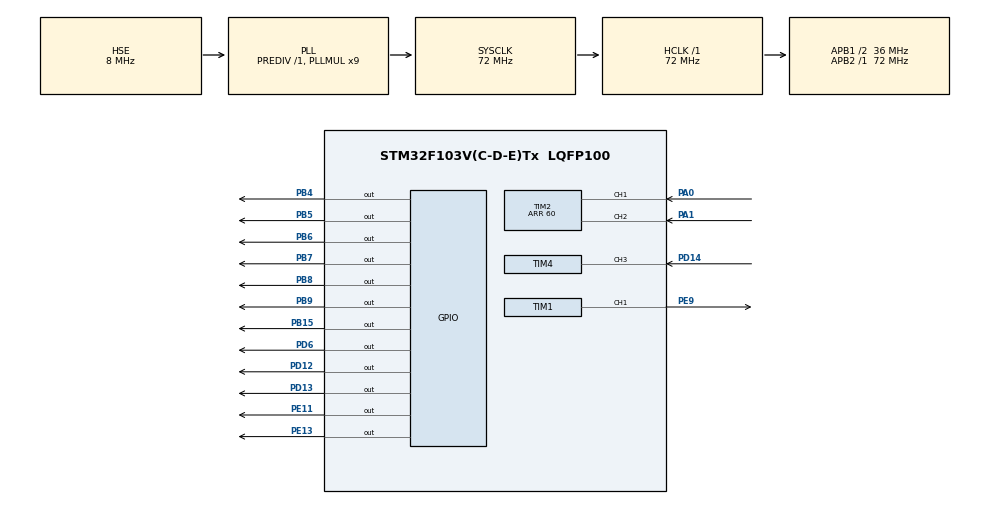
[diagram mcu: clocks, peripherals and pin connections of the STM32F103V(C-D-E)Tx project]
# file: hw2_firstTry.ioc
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Mcu.Family=STM32F1
Mcu.Name=STM32F103V(C-D-E)Tx
Mcu.Package=LQFP100
NVIC.PriorityGroup=NVIC_PRIORITYGROUP_4
NVIC.TIM1_UP_IRQn=true\:2\:0\:true\:false\:true\:true\:true
NVIC.TIM2_IRQn=true\:3\:0\:true\:false\:true\:true\:true
NVIC.TIM4_IRQn=true\:5\:0\:true\:false\:true\:true\:true
NVIC.TIM7_IRQn=true\:4\:0\:true\:false\:true\:true\:true
OSC_IN.Mode=HSE-External-Oscillator
OSC_IN.Signal=RCC_OSC_IN
OSC_OUT.Mode=HSE-External-Oscillator
OSC_OUT.Signal=RCC_OSC_OUT
PA0-WKUP.Signal=S_TIM2_CH1_ETR
PA1.Signal=S_TIM2_CH2
PA13.Mode=JTAG_4_pins
PA13.Signal=SYS_JTMS-SWDIO
PA14.Mode=JTAG_4_pins
PA14.Signal=SYS_JTCK-SWCLK
PA15.Mode=JTAG_4_pins
PA15.Signal=SYS_JTDI
PB15.Signal=GPIO_Output
PB3.Mode=JTAG_4_pins
PB3.Signal=SYS_JTDO-TRACESWO
PB4.Signal=GPIO_Output
PB5.Signal=GPIO_Output
PB6.Signal=GPIO_Output
PB7.Signal=GPIO_Output
PB8.Signal=GPIO_Output
PB9.Signal=GPIO_Output
PD12.Signal=GPIO_Output
PD13.Signal=GPIO_Output
PD14.Signal=S_TIM4_CH3
PD6.Signal=GPIO_Output
PE11.Signal=GPIO_Output
PE13.Signal=GPIO_Output
PE9.Signal=S_TIM1_CH1
ProjectManager.HeapSize=0x200
ProjectManager.StackSize=0x400
ProjectManager.TargetToolchain=MDK-ARM V5.27
RCC.AHBFreq_Value=72000000
RCC.APB1CLKDivider=RCC_HCLK_DIV2
RCC.APB1Freq_Value=36000000
RCC.APB1TimFreq_Value=72000000
RCC.APB2Freq_Value=72000000
RCC.APB2TimFreq_Value=72000000
RCC.HCLKFreq_Value=72000000
RCC.PLLMUL=RCC_PLL_MUL9
RCC.PLLSourceVirtual=RCC_PLLSOURCE_HSE
RCC.SYSCLKFreq_VALUE=72000000
RCC.SYSCLKSource=RCC_SYSCLKSOURCE_PLLCLK
RCC.USBFreq_Value=72000000
SH.S_TIM1_CH1.0=TIM1_CH1,PWM Generation1 CH1
SH.S_TIM2_CH1_ETR.0=TIM2_CH1,Encoder_Interface
SH.S_TIM2_CH2.0=TIM2_CH2,Encoder_Interface
SH.S_TIM4_CH3.0=TIM4_CH3,Input_Capture3_from_TI3
TIM1.AutoReloadPreload=TIM_AUTORELOAD_PRELOAD_ENABLE
TIM1.Channel-PWM\ Generation1\ CH1=TIM_CHANNEL_1
TIM1.OC1Preload_PWM=ENABLE
TIM1.Period=1000-1
TIM1.Prescaler=72-1
TIM1.Pulse-PWM\ Generation1\ CH1=500
TIM2.Channel-PWM\ Generation3\ No\ Output=TIM_CHANNEL_3
TIM2.Period=60
TIM2.Pulse-PWM\ Generation3\ No\ Output=30
TIM4.Channel-Input_Capture3_from_TI3=TIM_CHANNEL_3
TIM4.Period=40000-1
TIM4.Prescaler=720-1
TIM7.Period=10000-1
TIM7.Prescaler=3600-1
VP_TIM1_VS_ClockSourceINT.Mode=Internal
VP_TIM2_VS_no_output3.Mode=PWM Generation3 No Output
VP_TIM7_VS_ClockSourceINT.Mode=Enable_Timer
board=custom

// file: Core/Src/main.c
/* USER CODE BEGIN Header */
/**
  ******************************************************************************
  * @file           : main.c
  * @brief          : Main program body
  ******************************************************************************
  * @attention
  *
  * <h2><center>&copy; Copyright (c) 2021 STMicroelectronics.
  * All rights reserved.</center></h2>
  *
  * This software component is licensed by ST under BSD 3-Clause license,
  * the "License"; You may not use this file except in compliance with the
  * License. You may obtain a copy of the License at:
  *                        opensource.org/licenses/BSD-3-Clause
  *
  ******************************************************************************
  */
/* USER CODE END Header */
#include "main.h"

/* USER CODE BEGIN Includes */
#include "character_lcd.h"

/* USER CODE END Includes */

TIM_HandleTypeDef htim1;
TIM_HandleTypeDef htim2;
TIM_HandleTypeDef htim4;
TIM_HandleTypeDef htim7;

/* USER CODE BEGIN PV */
uint8_t cw_flag = 1;
char lcd_buffer[16];
uint16_t pulse_width = 0;
uint8_t i_ = 0;
uint16_t capture1 = 0;
double rpm = 0;
/* USER CODE END PV */

void SystemClock_Config(void);
static void MX_GPIO_Init(void);
static void MX_TIM1_Init(void);
static void MX_TIM2_Init(void);
static void MX_TIM7_Init(void);
static void MX_TIM4_Init(void);

int main(void)
{

  /* MCU Configuration--------------------------------------------------------*/

  /* Reset of all peripherals, Initializes the Flash interface and the Systick. */
  HAL_Init();

  /* Configure the system clock */
  SystemClock_Config();

  /* Initialize all configured peripherals */
  MX_GPIO_Init();
  MX_TIM1_Init();
  MX_TIM2_Init();
  MX_TIM7_Init();
  MX_TIM4_Init();
  /* USER CODE BEGIN 2 */
	LCD_Config.Font = _FONT_5X7;
  LCD_Config.Mode = _4BIT_INTERFACE;
  LCD_Config.NumberOfLine = _2LINE_DISPLAY;
  LCD_Init();
	HAL_Delay(10);
	LCD_Clear();

	__HAL_TIM_CLEAR_IT(&htim2, TIM_IT_UPDATE);
	__HAL_TIM_ENABLE_IT(&htim2, TIM_IT_UPDATE);

	HAL_TIM_PWM_Start(&htim1, TIM_CHANNEL_1);

	HAL_TIM_Encoder_Start(&htim2, TIM_CHANNEL_1);
	HAL_TIM_Encoder_Start(&htim2, TIM_CHANNEL_2);
	HAL_TIM_PWM_Start_IT(&htim2, TIM_CHANNEL_3);
	TIM2->CNT = 30;

	HAL_TIM_IC_Start_IT(&htim4, TIM_CHANNEL_3);

	HAL_TIM_Base_Start_IT(&htim7);
  /* USER CODE END 2 */

  /* Infinite loop */
  while (1)
  {

    /* USER CODE BEGIN 3 */

		if (cw_flag = 1)
		{
			pulse_width = 200 + (TIM2->CNT - 30)*24;
			TIM1->CCR1 = pulse_width ;
		}
		else
		{
			pulse_width = 200 -(TIM2->CNT - 30)*24;
			TIM1->CCR1 = pulse_width ;
		}
  }
}

void  HAL_TIM_PeriodElapsedCallback(TIM_HandleTypeDef *htim)
{
  if( htim->Instance == TIM7)
	{
		LCD_Clear();
		LCD_GotoXY(0, 0);
		if(cw_flag == 1)
		{
			sprintf(lcd_buffer, "Speed: %.1f rpm", rpm);
		}
		if(cw_flag == 0)
		{
			sprintf(lcd_buffer, "Speed: %.1f rpm", -1*rpm);
		}
		LCD_PutString(lcd_buffer);
	}
}

void HAL_TIM_PWM_PulseFinishedCallback(TIM_HandleTypeDef *htim)
{
	if(htim->Instance == TIM2)
	{
		if(TIM2->CNT > 30)
		{
			cw_flag = 1;
			HAL_GPIO_WritePin(GPIOE, GPIO_PIN_11, GPIO_PIN_SET);
			HAL_GPIO_WritePin(GPIOE, GPIO_PIN_13, GPIO_PIN_RESET);
		}
		else
		{
			cw_flag = 0;
			HAL_GPIO_WritePin(GPIOE, GPIO_PIN_13, GPIO_PIN_SET);
			HAL_GPIO_WritePin(GPIOE, GPIO_PIN_11, GPIO_PIN_RESET);
		}

		if(TIM2->CNT > 52)
			TIM2->CNT = 52;
		if(TIM2->CNT < 8)
			TIM2->CNT = 8;

	}
}

void HAL_TIM_IC_CaptureCallback(TIM_HandleTypeDef *htim)
{
  if(htim->Instance == TIM4)
	{
		capture1 = __HAL_TIM_GetCompare(&htim4, TIM_CHANNEL_3);
		TIM4->CNT = 0;
			rpm = 100000.0 / (capture1 * 96.0);
	}
}
  /* USER CODE END 3 */

void SystemClock_Config(void)
{
  RCC_OscInitTypeDef RCC_OscInitStruct = {0};
  RCC_ClkInitTypeDef RCC_ClkInitStruct = {0};

  /** Initializes the RCC Oscillators according to the specified parameters
  * in the RCC_OscInitTypeDef structure.
  */
  RCC_OscInitStruct.OscillatorType = RCC_OSCILLATORTYPE_HSE;
  RCC_OscInitStruct.HSEState = RCC_HSE_ON;
  RCC_OscInitStruct.HSEPredivValue = RCC_HSE_PREDIV_DIV1;
  RCC_OscInitStruct.HSIState = RCC_HSI_ON;
  RCC_OscInitStruct.PLL.PLLState = RCC_PLL_ON;
  RCC_OscInitStruct.PLL.PLLSource = RCC_PLLSOURCE_HSE;
  RCC_OscInitStruct.PLL.PLLMUL = RCC_PLL_MUL9;
  if (HAL_RCC_OscConfig(&RCC_OscInitStruct) != HAL_OK)
  {
    Error_Handler();
  }
  /** Initializes the CPU, AHB and APB buses clocks
  */
  RCC_ClkInitStruct.ClockType = RCC_CLOCKTYPE_HCLK|RCC_CLOCKTYPE_SYSCLK
                              |RCC_CLOCKTYPE_PCLK1|RCC_CLOCKTYPE_PCLK2;
  RCC_ClkInitStruct.SYSCLKSource = RCC_SYSCLKSOURCE_PLLCLK;
  RCC_ClkInitStruct.AHBCLKDivider = RCC_SYSCLK_DIV1;
  RCC_ClkInitStruct.APB1CLKDivider = RCC_HCLK_DIV2;
  RCC_ClkInitStruct.APB2CLKDivider = RCC_HCLK_DIV1;

  if (HAL_RCC_ClockConfig(&RCC_ClkInitStruct, FLASH_LATENCY_2) != HAL_OK)
  {
    Error_Handler();
  }
}

static void MX_TIM1_Init(void)
{

  TIM_ClockConfigTypeDef sClockSourceConfig = {0};
  TIM_MasterConfigTypeDef sMasterConfig = {0};
  TIM_OC_InitTypeDef sConfigOC = {0};
  TIM_BreakDeadTimeConfigTypeDef sBreakDeadTimeConfig = {0};

  htim1.Instance = TIM1;
  htim1.Init.Prescaler = 72-1;
  htim1.Init.CounterMode = TIM_COUNTERMODE_UP;
  htim1.Init.Period = 1000-1;
  htim1.Init.ClockDivision = TIM_CLOCKDIVISION_DIV1;
  htim1.Init.RepetitionCounter = 0;
  htim1.Init.AutoReloadPreload = TIM_AUTORELOAD_PRELOAD_ENABLE;
  if (HAL_TIM_Base_Init(&htim1) != HAL_OK)
  {
    Error_Handler();
  }
  sClockSourceConfig.ClockSource = TIM_CLOCKSOURCE_INTERNAL;
  if (HAL_TIM_ConfigClockSource(&htim1, &sClockSourceConfig) != HAL_OK)
  {
    Error_Handler();
  }
  if (HAL_TIM_PWM_Init(&htim1) != HAL_OK)
  {
    Error_Handler();
  }
  sMasterConfig.MasterOutputTrigger = TIM_TRGO_RESET;
  sMasterConfig.MasterSlaveMode = TIM_MASTERSLAVEMODE_DISABLE;
  if (HAL_TIMEx_MasterConfigSynchronization(&htim1, &sMasterConfig) != HAL_OK)
  {
    Error_Handler();
  }
  sConfigOC.OCMode = TIM_OCMODE_PWM1;
  sConfigOC.Pulse = 500;
  sConfigOC.OCPolarity = TIM_OCPOLARITY_HIGH;
  sConfigOC.OCNPolarity = TIM_OCNPOLARITY_HIGH;
  sConfigOC.OCFastMode = TIM_OCFAST_DISABLE;
  sConfigOC.OCIdleState = TIM_OCIDLESTATE_RESET;
  sConfigOC.OCNIdleState = TIM_OCNIDLESTATE_RESET;
  if (HAL_TIM_PWM_ConfigChannel(&htim1, &sConfigOC, TIM_CHANNEL_1) != HAL_OK)
  {
    Error_Handler();
  }
  sBreakDeadTimeConfig.OffStateRunMode = TIM_OSSR_DISABLE;
  sBreakDeadTimeConfig.OffStateIDLEMode = TIM_OSSI_DISABLE;
  sBreakDeadTimeConfig.LockLevel = TIM_LOCKLEVEL_OFF;
  sBreakDeadTimeConfig.DeadTime = 0;
  sBreakDeadTimeConfig.BreakState = TIM_BREAK_DISABLE;
  sBreakDeadTimeConfig.BreakPolarity = TIM_BREAKPOLARITY_HIGH;
  sBreakDeadTimeConfig.AutomaticOutput = TIM_AUTOMATICOUTPUT_DISABLE;
  if (HAL_TIMEx_ConfigBreakDeadTime(&htim1, &sBreakDeadTimeConfig) != HAL_OK)
  {
    Error_Handler();
  }
  HAL_TIM_MspPostInit(&htim1);

}

static void MX_TIM2_Init(void)
{

  TIM_Encoder_InitTypeDef sConfig = {0};
  TIM_MasterConfigTypeDef sMasterConfig = {0};
  TIM_OC_InitTypeDef sConfigOC = {0};

  htim2.Instance = TIM2;
  htim2.Init.Prescaler = 0;
  htim2.Init.CounterMode = TIM_COUNTERMODE_UP;
  htim2.Init.Period = 60;
  htim2.Init.ClockDivision = TIM_CLOCKDIVISION_DIV1;
  htim2.Init.AutoReloadPreload = TIM_AUTORELOAD_PRELOAD_DISABLE;
  if (HAL_TIM_PWM_Init(&htim2) != HAL_OK)
  {
    Error_Handler();
  }
  sConfig.EncoderMode = TIM_ENCODERMODE_TI1;
  sConfig.IC1Polarity = TIM_ICPOLARITY_RISING;
  sConfig.IC1Selection = TIM_ICSELECTION_DIRECTTI;
  sConfig.IC1Prescaler = TIM_ICPSC_DIV1;
  sConfig.IC1Filter = 0;
  sConfig.IC2Polarity = TIM_ICPOLARITY_RISING;
  sConfig.IC2Selection = TIM_ICSELECTION_DIRECTTI;
  sConfig.IC2Prescaler = TIM_ICPSC_DIV1;
  sConfig.IC2Filter = 0;
  if (HAL_TIM_Encoder_Init(&htim2, &sConfig) != HAL_OK)
  {
    Error_Handler();
  }
  sMasterConfig.MasterOutputTrigger = TIM_TRGO_RESET;
  sMasterConfig.MasterSlaveMode = TIM_MASTERSLAVEMODE_DISABLE;
  if (HAL_TIMEx_MasterConfigSynchronization(&htim2, &sMasterConfig) != HAL_OK)
  {
    Error_Handler();
  }
  sConfigOC.OCMode = TIM_OCMODE_PWM1;
  sConfigOC.Pulse = 30;
  sConfigOC.OCPolarity = TIM_OCPOLARITY_HIGH;
  sConfigOC.OCFastMode = TIM_OCFAST_DISABLE;
  if (HAL_TIM_PWM_ConfigChannel(&htim2, &sConfigOC, TIM_CHANNEL_3) != HAL_OK)
  {
    Error_Handler();
  }

}

static void MX_TIM4_Init(void)
{

  TIM_MasterConfigTypeDef sMasterConfig = {0};
  TIM_IC_InitTypeDef sConfigIC = {0};

  htim4.Instance = TIM4;
  htim4.Init.Prescaler = 720-1;
  htim4.Init.CounterMode = TIM_COUNTERMODE_UP;
  htim4.Init.Period = 40000-1;
  htim4.Init.ClockDivision = TIM_CLOCKDIVISION_DIV1;
  htim4.Init.AutoReloadPreload = TIM_AUTORELOAD_PRELOAD_DISABLE;
  if (HAL_TIM_IC_Init(&htim4) != HAL_OK)
  {
    Error_Handler();
  }
  sMasterConfig.MasterOutputTrigger = TIM_TRGO_RESET;
  sMasterConfig.MasterSlaveMode = TIM_MASTERSLAVEMODE_DISABLE;
  if (HAL_TIMEx_MasterConfigSynchronization(&htim4, &sMasterConfig) != HAL_OK)
  {
    Error_Handler();
  }
  sConfigIC.ICPolarity = TIM_INPUTCHANNELPOLARITY_RISING;
  sConfigIC.ICSelection = TIM_ICSELECTION_DIRECTTI;
  sConfigIC.ICPrescaler = TIM_ICPSC_DIV1;
  sConfigIC.ICFilter = 0;
  if (HAL_TIM_IC_ConfigChannel(&htim4, &sConfigIC, TIM_CHANNEL_3) != HAL_OK)
  {
    Error_Handler();
  }

}

static void MX_TIM7_Init(void)
{

  TIM_MasterConfigTypeDef sMasterConfig = {0};

  htim7.Instance = TIM7;
  htim7.Init.Prescaler = 3600-1;
  htim7.Init.CounterMode = TIM_COUNTERMODE_UP;
  htim7.Init.Period = 10000-1;
  htim7.Init.AutoReloadPreload = TIM_AUTORELOAD_PRELOAD_DISABLE;
  if (HAL_TIM_Base_Init(&htim7) != HAL_OK)
  {
    Error_Handler();
  }
  sMasterConfig.MasterOutputTrigger = TIM_TRGO_RESET;
  sMasterConfig.MasterSlaveMode = TIM_MASTERSLAVEMODE_DISABLE;
  if (HAL_TIMEx_MasterConfigSynchronization(&htim7, &sMasterConfig) != HAL_OK)
  {
    Error_Handler();
  }

}

static void MX_GPIO_Init(void)
{
  GPIO_InitTypeDef GPIO_InitStruct = {0};

  /* GPIO Ports Clock Enable */
  __HAL_RCC_GPIOA_CLK_ENABLE();
  __HAL_RCC_GPIOE_CLK_ENABLE();
  __HAL_RCC_GPIOB_CLK_ENABLE();
  __HAL_RCC_GPIOD_CLK_ENABLE();

  /*Configure GPIO pin Output Level */
  HAL_GPIO_WritePin(GPIOE, GPIO_PIN_11|GPIO_PIN_13, GPIO_PIN_RESET);

  /*Configure GPIO pin Output Level */
  HAL_GPIO_WritePin(GPIOB, GPIO_PIN_15|GPIO_PIN_4|GPIO_PIN_5|GPIO_PIN_6
                          |GPIO_PIN_7|GPIO_PIN_8|GPIO_PIN_9, GPIO_PIN_RESET);

  /*Configure GPIO pin Output Level */
  HAL_GPIO_WritePin(GPIOD, GPIO_PIN_12|GPIO_PIN_13|GPIO_PIN_6, GPIO_PIN_RESET);

  /*Configure GPIO pins : PE11 PE13 */
  GPIO_InitStruct.Pin = GPIO_PIN_11|GPIO_PIN_13;
  GPIO_InitStruct.Mode = GPIO_MODE_OUTPUT_PP;
  GPIO_InitStruct.Pull = GPIO_NOPULL;
  GPIO_InitStruct.Speed = GPIO_SPEED_FREQ_LOW;
  HAL_GPIO_Init(GPIOE, &GPIO_InitStruct);

  /*Configure GPIO pins : PB15 PB4 PB5 PB6
                           PB7 PB8 PB9 */
  GPIO_InitStruct.Pin = GPIO_PIN_15|GPIO_PIN_4|GPIO_PIN_5|GPIO_PIN_6
                          |GPIO_PIN_7|GPIO_PIN_8|GPIO_PIN_9;
  GPIO_InitStruct.Mode = GPIO_MODE_OUTPUT_PP;
  GPIO_InitStruct.Pull = GPIO_NOPULL;
  GPIO_InitStruct.Speed = GPIO_SPEED_FREQ_LOW;
  HAL_GPIO_Init(GPIOB, &GPIO_InitStruct);

  /*Configure GPIO pins : PD12 PD13 PD6 */
  GPIO_InitStruct.Pin = GPIO_PIN_12|GPIO_PIN_13|GPIO_PIN_6;
  GPIO_InitStruct.Mode = GPIO_MODE_OUTPUT_PP;
  GPIO_InitStruct.Pull = GPIO_NOPULL;
  GPIO_InitStruct.Speed = GPIO_SPEED_FREQ_LOW;
  HAL_GPIO_Init(GPIOD, &GPIO_InitStruct);

}

void Error_Handler(void)
{
}

/************************ (C) COPYRIGHT STMicroelectronics *****END OF FILE****/
